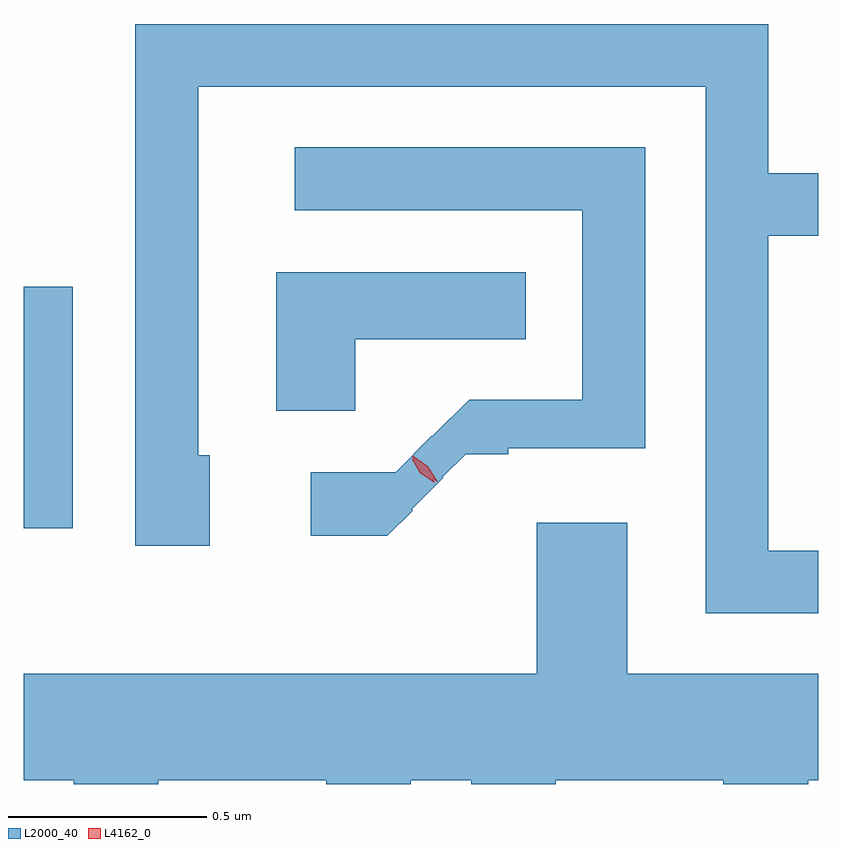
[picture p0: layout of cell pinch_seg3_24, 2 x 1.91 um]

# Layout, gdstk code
import gdstk
lib = gdstk.Library(unit=1e-6, precision=1e-09)
def R(c, l, rs):  # rectangles x0, y0, x1, y1
    for r in rs: c.add(gdstk.rectangle(r[:2], r[2:], *l))
def P(c, l, *ps):  # polygons
    for p in ps: c.add(gdstk.Polygon(p, *l))
L2000_40 = (2000, 40)
L4162_0 = (4162, 0)

pinch_seg3_24 = lib.new_cell('pinch_seg3_24')
R(pinch_seg3_24, L2000_40, [(830.34,1166.611,830.464,1167.218)])
P(pinch_seg3_24, L2000_40, [(832.34,1166.554),(832.214,1166.554),(832.214,1167.346),(832.34,1167.346),(832.34,1167.504),(832.214,1167.504),(832.214,1167.879),(830.621,1167.879),(830.621,1166.566),(830.809,1166.566),(830.809,1166.794),(830.779,1166.794),(830.779,1167.721),(832.056,1167.721),(832.056,1166.396),(832.34,1166.396)],
  [(831.319,1166.655),(831.317,1166.658),(831.396,1166.738),(831.394,1166.739),(831.452,1166.797),(831.559,1166.797),(831.559,1166.812),(831.904,1166.812),(831.904,1167.569),(831.023,1167.569),(831.023,1167.411),(831.746,1167.411),(831.746,1166.934),(831.461,1166.934),(831.368,1166.842),(831.367,1166.843),(831.276,1166.751),(831.063,1166.751),(831.063,1166.591),(831.255,1166.591)],
  [(831.174,1167.086),(831.603,1167.086),(831.603,1167.254),(830.976,1167.254),(830.976,1166.906),(831.174,1166.906)],
  [(830.679,1165.976),(831.101,1165.976),(831.101,1165.967),(831.314,1165.967),(831.314,1165.976),(831.466,1165.976),(831.466,1165.967),(831.679,1165.967),(831.679,1165.976),(832.101,1165.976),(832.101,1165.967),(832.314,1165.967),(832.314,1165.976),(832.34,1165.976),(832.34,1166.244),(831.859,1166.244),(831.859,1166.624),(831.631,1166.624),(831.631,1166.244),(830.34,1166.244),(830.34,1165.976),(830.466,1165.976),(830.466,1165.967),(830.679,1165.967)])
P(pinch_seg3_24, L4162_0, [(831.381,1166.727),(831.343,1166.753),(831.318,1166.792),(831.318,1166.793),(831.319,1166.793),(831.357,1166.767),(831.382,1166.727),(831.382,1166.727)],
  [(831.372,1166.726),(831.338,1166.749),(831.318,1166.784),(831.318,1166.785),(831.319,1166.785),(831.353,1166.762),(831.373,1166.727),(831.373,1166.726)])

lib.write_gds('pinch_seg3_24.gds')
